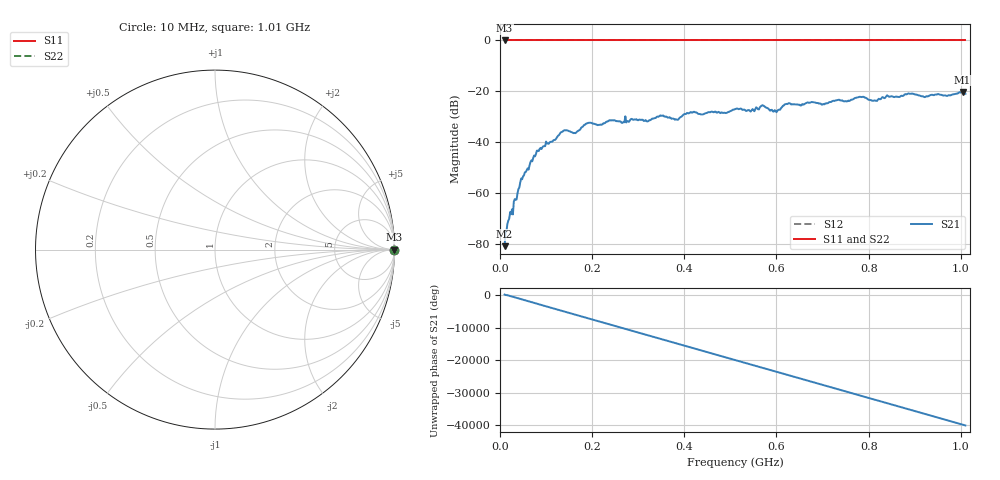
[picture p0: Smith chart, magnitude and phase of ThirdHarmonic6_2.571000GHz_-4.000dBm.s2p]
! 8/17/2025 5:22:49 AM
! C:\ANRITSUVNA\TEMP\TEMP.S2P
! CHANNEL.1
! TR.MEASUREMENT
! RAW.DATA
! RF.CORRECTION.OFF
! AVERAGING.OFF
! IF.BANDWIDTH: 5KHZ
! SWEEPTYPE:  FREQ.SWEEP(Linear)
! Reference Plane Port Info
! PORT:  PORT1  PORT2
! DISTANCE:  0  m  0  m
! TIME:  0  s  0  s
! PHASE.OFFSET:  0  deg.  0  deg.
! LOSS:  0  dB  0  dB
! REF.LOSS:  0  dB  0  dB
! REF.FREQ:  0  Hz  0  Hz
! Power Info
! POWER:  -20  dBm  -20  dBm
! EFF.POWER:  -20  dBm  -20  dBm
! SOURCE.ATTEN:  0  dB  0  dB
! TEST.ATTEN:  0  dB  0  dB
# GHZ S RI R 50.0
! FREQ.GHZ  S11RE  S11IM  S21RE  S21IM  S12RE  S12IM  S22RE  S22IM
!; PortSelection: Port_12
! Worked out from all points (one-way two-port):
!   501 points, 10 MHz to 1.01 GHz, reference 50 ohm
!   highest |S21| = -20.21 dB at 1.004 GHz (marker M1); lowest = -80.8 dB at 10 MHz (marker M2)
!   lowest |S11| = 0.0 dB at 10 MHz (marker M3)
!   |S11| at or under -10 dB: nowhere
!   |S22| runs from 0.0 to 0.0 dB; largest |S21 - S12| = 1.1
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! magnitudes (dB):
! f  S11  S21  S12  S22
! 10 MHz  0.0  -80.8  0.0  0.0
! 20 MHz  0.0  -70.0  0.0  0.0
! 46 MHz  0.0  -54.2  0.0  0.0
! 78 MHz  0.0  -44.6  0.0  0.0
! 136 MHz  0.0  -35.8  0.0  0.0
! 162 MHz  0.0  -36.3  0.0  0.0
! 178 MHz  0.0  -34.0  0.0  0.0
! 192 MHz  0.0  -32.3  0.0  0.0
! 344 MHz  0.0  -29.9  0.0  0.0
! 384 MHz  0.0  -31.0  0.0  0.0
! 416 MHz  0.0  -28.3  0.0  0.0
! 510 MHz  0.0  -27.0  0.0  0.0
! 548 MHz  0.0  -26.9  0.0  0.0
! 570 MHz  0.0  -25.5  0.0  0.0
! 596 MHz  0.0  -27.4  0.0  0.0
! 624 MHz  0.0  -24.9  0.0  0.0
! 678 MHz  0.0  -24.2  0.0  0.0
! 784 MHz  0.0  -22.2  0.0  0.0
! 814 MHz  0.0  -23.6  0.0  0.0
! 844 MHz  0.0  -22.0  0.0  0.0
! 1.004 GHz  0.0  -20.2  0.0  0.0
! 1.01 GHz  0.0  -20.9  0.0  0.0
